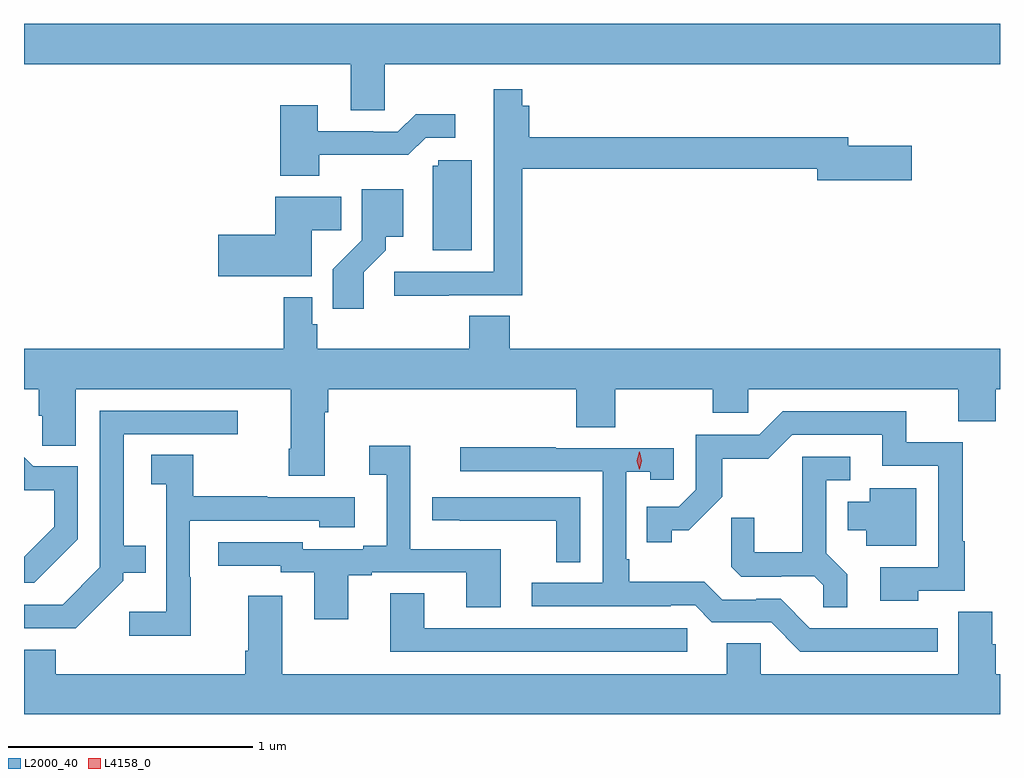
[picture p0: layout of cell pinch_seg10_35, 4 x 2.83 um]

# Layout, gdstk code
import gdstk
lib = gdstk.Library(unit=1e-6, precision=1e-09)
def P(c, l, *ps):  # polygons
    for p in ps: c.add(gdstk.Polygon(p, *l))
L2000_40 = (2000, 40)
L4158_0 = (4158, 0)

pinch_seg10_35 = lib.new_cell('pinch_seg10_35')
P(pinch_seg10_35, L2000_40, [(903.942,1310.972),(906.464,1310.972),(906.464,1311.136),(902.464,1311.136),(902.464,1310.972),(903.803,1310.972),(903.803,1310.782),(903.942,1310.782)],
  [(904.205,1310.025),(904.505,1310.025),(904.505,1310.542),(905.714,1310.542),(905.714,1310.495),(906.103,1310.495),(906.103,1310.637),(905.842,1310.637),(905.842,1310.671),(904.535,1310.671),(904.535,1310.8),(904.505,1310.8),(904.505,1310.869),(904.389,1310.869),(904.389,1310.121),(903.981,1310.121),(903.981,1310.023),(904.205,1310.023)],
  [(903.675,1310.6),(904.039,1310.6),(904.11,1310.67),(904.231,1310.67),(904.231,1310.767),(904.069,1310.767),(903.996,1310.694),(903.896,1310.694),(903.896,1310.697),(903.667,1310.697),(903.667,1310.803),(903.515,1310.803),(903.515,1310.513),(903.675,1310.513)],
  [(904.3,1310.577),(904.161,1310.577),(904.161,1310.556),(904.139,1310.556),(904.139,1310.208),(904.3,1310.208)],
  [(903.856,1310.119),(903.946,1310.209),(903.946,1310.264),(904.018,1310.264),(904.018,1310.458),(903.849,1310.458),(903.849,1310.249),(903.73,1310.13),(903.73,1309.968),(903.856,1309.968)],
  [(903.643,1310.29),(903.764,1310.29),(903.764,1310.428),(903.494,1310.428),(903.494,1310.273),(903.261,1310.273),(903.261,1310.102),(903.643,1310.102)],
  [(903.697,1309.544),(903.71,1309.544),(903.71,1309.64),(904.727,1309.64),(904.727,1309.483),(904.887,1309.483),(904.887,1309.64),(905.287,1309.64),(905.287,1309.542),(905.433,1309.542),(905.433,1309.64),(906.293,1309.64),(906.293,1309.507),(906.446,1309.507),(906.446,1309.64),(906.464,1309.64),(906.464,1309.804),(904.454,1309.804),(904.454,1309.94),(904.289,1309.94),(904.289,1309.804),(903.665,1309.804),(903.665,1309.905),(903.645,1309.905),(903.645,1310.017),(903.529,1310.017),(903.529,1309.804),(902.464,1309.804),(902.464,1309.64),(902.525,1309.64),(902.525,1309.53),(902.539,1309.53),(902.539,1309.408),(902.677,1309.408),(902.677,1309.64),(903.557,1309.64),(903.557,1309.396),(903.55,1309.396),(903.55,1309.284),(903.697,1309.284)],
  [(902.871,1308.855),(902.871,1308.887),(902.963,1308.887),(902.963,1308.997),(902.872,1308.997),(902.872,1309.455),(903.34,1309.455),(903.34,1309.551),(902.775,1309.551),(902.775,1308.909),(902.622,1308.756),(902.464,1308.756),(902.464,1308.66),(902.676,1308.66)],
  [(906.129,1308.813),(906.319,1308.813),(906.319,1309.016),(906.311,1309.016),(906.311,1309.422),(906.08,1309.422),(906.08,1309.548),(905.574,1309.548),(905.478,1309.452),(905.217,1309.452),(905.217,1309.227),(905.148,1309.158),(905.017,1309.158),(905.017,1309.011),(905.118,1309.011),(905.118,1309.061),(905.188,1309.061),(905.326,1309.198),(905.326,1309.354),(905.515,1309.354),(905.613,1309.452),(905.981,1309.452),(905.981,1309.326),(906.21,1309.326),(906.21,1308.909),(905.973,1308.909),(905.973,1308.773),(906.129,1308.773)],
  [(903.793,1308.876),(903.889,1308.876),(903.889,1308.888),(904.277,1308.888),(904.277,1308.745),(904.417,1308.745),(904.417,1308.984),(904.047,1308.984),(904.047,1309.408),(903.879,1309.408),(903.879,1309.288),(903.95,1309.288),(903.95,1308.997),(903.854,1308.997),(903.854,1308.984),(903.606,1308.984),(903.606,1309.011),(903.261,1309.011),(903.261,1308.915),(903.516,1308.915),(903.516,1308.888),(903.653,1308.888),(903.653,1308.696),(903.793,1308.696)],
  [(906.208,1308.66),(905.685,1308.66),(905.565,1308.78),(905.464,1308.78),(905.464,1308.777),(905.325,1308.777),(905.252,1308.85),(904.945,1308.85),(904.945,1308.943),(904.932,1308.943),(904.932,1309.301),(905.031,1309.301),(905.031,1309.269),(905.127,1309.269),(905.127,1309.398),(904.643,1309.398),(904.643,1309.401),(904.251,1309.401),(904.251,1309.302),(904.836,1309.302),(904.836,1308.846),(904.545,1308.846),(904.545,1308.75),(905.114,1308.75),(905.114,1308.753),(905.214,1308.753),(905.283,1308.684),(905.526,1308.684),(905.646,1308.564),(906.208,1308.564)],
  [(903.147,1308.869),(903.144,1308.869),(903.144,1309.101),(903.675,1309.101),(903.675,1309.073),(903.82,1309.073),(903.82,1309.197),(903.461,1309.197),(903.461,1309.2),(903.157,1309.2),(903.157,1309.37),(902.985,1309.37),(902.985,1309.249),(903.048,1309.249),(903.048,1308.727),(902.895,1308.727),(902.895,1308.629),(903.147,1308.629)],
  [(905.837,1308.881),(905.751,1308.967),(905.751,1309.266),(905.851,1309.266),(905.851,1309.362),(905.654,1309.362),(905.654,1308.97),(905.456,1308.97),(905.456,1309.113),(905.362,1309.113),(905.362,1308.911),(905.403,1308.87),(905.568,1308.87),(905.568,1308.873),(905.702,1308.873),(905.739,1308.836),(905.739,1308.745),(905.837,1308.745)],
  [(902.685,1309.025),(902.685,1309.323),(902.502,1309.323),(902.464,1309.361),(902.464,1309.226),(902.588,1309.226),(902.588,1309.076),(902.464,1308.952),(902.464,1308.846),(902.506,1308.846)],
  [(906.121,1309.234),(905.93,1309.234),(905.93,1309.177),(905.84,1309.177),(905.84,1309.061),(905.915,1309.061),(905.915,1308.998),(906.121,1308.998)],
  [(904.743,1309.197),(904.137,1309.197),(904.137,1309.102),(904.249,1309.102),(904.249,1309.101),(904.645,1309.101),(904.645,1308.931),(904.743,1308.931)],
  [(905.182,1308.66),(904.105,1308.66),(904.105,1308.803),(903.965,1308.803),(903.965,1308.564),(905.182,1308.564)],
  [(906.464,1308.472),(906.446,1308.472),(906.446,1308.594),(906.433,1308.594),(906.433,1308.728),(906.293,1308.728),(906.293,1308.472),(905.484,1308.472),(905.484,1308.599),(905.345,1308.599),(905.345,1308.472),(903.523,1308.472),(903.523,1308.793),(903.383,1308.793),(903.383,1308.568),(903.371,1308.568),(903.371,1308.472),(902.594,1308.472),(902.594,1308.571),(902.464,1308.571),(902.464,1308.308),(906.464,1308.308)])
P(pinch_seg10_35, L4158_0, [(904.986,1309.311),(904.986,1309.311),(904.976,1309.347),(904.986,1309.383),(904.986,1309.383),(904.987,1309.383),(904.996,1309.347),(904.987,1309.311)])

lib.write_gds('pinch_seg10_35.gds')
